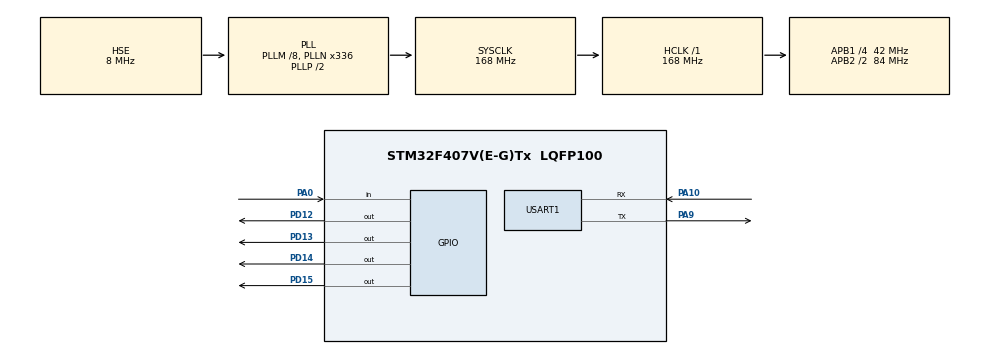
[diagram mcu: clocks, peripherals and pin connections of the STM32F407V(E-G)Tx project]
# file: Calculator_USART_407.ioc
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Mcu.Family=STM32F4
Mcu.Name=STM32F407V(E-G)Tx
Mcu.Package=LQFP100
NVIC.PriorityGroup=NVIC_PRIORITYGROUP_0
NVIC.TIM1_UP_TIM10_IRQn=true\:0\:0\:false\:false\:true\:false\:true
NVIC.TimeBase=TIM1_UP_TIM10_IRQn
NVIC.TimeBaseIP=TIM1
NVIC.USART1_IRQn=true\:0\:0\:false\:false\:true\:true\:true
PA0-WKUP.Signal=GPIO_Input
PA10.Mode=Asynchronous
PA10.Signal=USART1_RX
PA9.Mode=Asynchronous
PA9.Signal=USART1_TX
PD12.Signal=GPIO_Output
PD13.Signal=GPIO_Output
PD14.Signal=GPIO_Output
PD15.Signal=GPIO_Output
PH0-OSC_IN.Mode=HSE-External-Clock-Source
PH0-OSC_IN.Signal=RCC_OSC_IN
PH1-OSC_OUT.Mode=HSE-External-Clock-Source
PH1-OSC_OUT.Signal=RCC_OSC_OUT
ProjectManager.HeapSize=0x200
ProjectManager.StackSize=0x400
ProjectManager.TargetToolchain=STM32CubeIDE
RCC.48MHZClocksFreq_Value=48000000
RCC.AHBFreq_Value=168000000
RCC.APB1CLKDivider=RCC_HCLK_DIV4
RCC.APB1Freq_Value=42000000
RCC.APB1TimFreq_Value=84000000
RCC.APB2CLKDivider=RCC_HCLK_DIV2
RCC.APB2Freq_Value=84000000
RCC.APB2TimFreq_Value=168000000
RCC.CortexFreq_Value=168000000
RCC.HCLKFreq_Value=168000000
RCC.HSE_VALUE=8000000
RCC.HSI_VALUE=16000000
RCC.PLLM=8
RCC.PLLN=336
RCC.PLLQ=7
RCC.PLLSourceVirtual=RCC_PLLSOURCE_HSE
RCC.SYSCLKFreq_VALUE=168000000
RCC.SYSCLKSource=RCC_SYSCLKSOURCE_PLLCLK
RCC.VCOOutputFreq_Value=336000000
USART1.VirtualMode=VM_ASYNC
VP_SYS_VS_tim1.Mode=TIM1
board=STM32F407G-DISC1

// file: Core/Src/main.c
/* USER CODE BEGIN Header */
/**
  ******************************************************************************
  * @file           : main.c
  * @brief          : Main program body
  ******************************************************************************
  * @attention
  *
  * <h2><center>&copy; Copyright (c) 2022 STMicroelectronics.
  * All rights reserved.</center></h2>
  *
  * This software component is licensed by ST under Ultimate Liberty license
  * SLA0044, the "License"; You may not use this file except in compliance with
  * the License. You may obtain a copy of the License at:
  *                             www.st.com/SLA0044
  *
  ******************************************************************************
  */
/* USER CODE END Header */
#include "main.h"
#include "calculator.h"

UART_HandleTypeDef huart1;

void SystemClock_Config(void);
static void MX_GPIO_Init(void);
static void MX_USART1_UART_Init(void);

/* USER CODE BEGIN 0 */
uint8_t Tx1_Data[18]= "Enter two No.\r\n";
uint8_t Rx_Data;
uint8_t *Tx_Data[6]={"Enter 2 No.\n\r", "1. Addition\n\r","2. Subtraction\n\r","3. Multiplication\n\r","4. Division\n\r"};
uint8_t invalid[25]= "Input Incorrect!!\n\r";
uint8_t div_zero[30]= "Exception: divide by 0\n\r";
uint8_t buffer[4]={0},i=0;
uint16_t result=0;

/* USER CODE END 0 */

int main(void)
{

  /* MCU Configuration--------------------------------------------------------*/

  /* Reset of all peripherals, Initializes the Flash interface and the Systick. */
  HAL_Init();

  /* Configure the system clock */
  SystemClock_Config();

  /* Initialize all configured peripherals */
  MX_GPIO_Init();
  MX_USART1_UART_Init();
  /* USER CODE BEGIN 2 */
  for(uint8_t i=0;i<6;i++)
  {
	  HAL_UART_Transmit(&huart1,Tx1_Data,sizeof(Tx1_Data), 1000);
	  HAL_GPIO_TogglePin(GPIOD, GPIO_PIN_12);
  }

  /* USER CODE END 2 */
  HAL_UART_Receive_IT(&huart1, &Rx_Data, 1);
  /* Infinite loop */
  while (1)
  {
	  if(i==1)
	  {
		  HAL_UART_Transmit(&huart1, Tx1_Data, sizeof(Tx1_Data), 1000);
		  HAL_GPIO_TogglePin(GPIOD, GPIO_PIN_12);
	  }

	  if(i==3)
	  {
		  i=0;
		  result=calculator(buffer[0],buffer[1],buffer[2]);
		  *buffer=0;
		  if(result==9999)
		  {
			  HAL_UART_Transmit_IT(&huart1, invalid, sizeof(invalid));
		  }

		  else if (result==99999)
		  {
		  	HAL_UART_Transmit_IT(&huart1, div_zero, sizeof(div_zero));
		  }

		  else
		  {
			  HAL_UART_Transmit_IT(&huart1, &result, sizeof(result));
		  }

	  }
  }
}

void SystemClock_Config(void)
{
  RCC_OscInitTypeDef RCC_OscInitStruct = {0};
  RCC_ClkInitTypeDef RCC_ClkInitStruct = {0};

  /** Configure the main internal regulator output voltage
  */
  __HAL_RCC_PWR_CLK_ENABLE();
  __HAL_PWR_VOLTAGESCALING_CONFIG(PWR_REGULATOR_VOLTAGE_SCALE1);
  /** Initializes the RCC Oscillators according to the specified parameters
  * in the RCC_OscInitTypeDef structure.
  */
  RCC_OscInitStruct.OscillatorType = RCC_OSCILLATORTYPE_HSE;
  RCC_OscInitStruct.HSEState = RCC_HSE_BYPASS;
  RCC_OscInitStruct.PLL.PLLState = RCC_PLL_ON;
  RCC_OscInitStruct.PLL.PLLSource = RCC_PLLSOURCE_HSE;
  RCC_OscInitStruct.PLL.PLLM = 8;
  RCC_OscInitStruct.PLL.PLLN = 336;
  RCC_OscInitStruct.PLL.PLLP = RCC_PLLP_DIV2;
  RCC_OscInitStruct.PLL.PLLQ = 7;
  if (HAL_RCC_OscConfig(&RCC_OscInitStruct) != HAL_OK)
  {
    Error_Handler();
  }
  /** Initializes the CPU, AHB and APB buses clocks
  */
  RCC_ClkInitStruct.ClockType = RCC_CLOCKTYPE_HCLK|RCC_CLOCKTYPE_SYSCLK
                              |RCC_CLOCKTYPE_PCLK1|RCC_CLOCKTYPE_PCLK2;
  RCC_ClkInitStruct.SYSCLKSource = RCC_SYSCLKSOURCE_PLLCLK;
  RCC_ClkInitStruct.AHBCLKDivider = RCC_SYSCLK_DIV1;
  RCC_ClkInitStruct.APB1CLKDivider = RCC_HCLK_DIV4;
  RCC_ClkInitStruct.APB2CLKDivider = RCC_HCLK_DIV2;

  if (HAL_RCC_ClockConfig(&RCC_ClkInitStruct, FLASH_LATENCY_5) != HAL_OK)
  {
    Error_Handler();
  }
}

static void MX_USART1_UART_Init(void)
{

  huart1.Instance = USART1;
  huart1.Init.BaudRate = 115200;
  huart1.Init.WordLength = UART_WORDLENGTH_8B;
  huart1.Init.StopBits = UART_STOPBITS_1;
  huart1.Init.Parity = UART_PARITY_NONE;
  huart1.Init.Mode = UART_MODE_TX_RX;
  huart1.Init.HwFlowCtl = UART_HWCONTROL_NONE;
  huart1.Init.OverSampling = UART_OVERSAMPLING_16;
  if (HAL_UART_Init(&huart1) != HAL_OK)
  {
    Error_Handler();
  }

}

static void MX_GPIO_Init(void)
{
  GPIO_InitTypeDef GPIO_InitStruct = {0};

  /* GPIO Ports Clock Enable */
  __HAL_RCC_GPIOH_CLK_ENABLE();
  __HAL_RCC_GPIOA_CLK_ENABLE();
  __HAL_RCC_GPIOD_CLK_ENABLE();

  /*Configure GPIO pin Output Level */
  HAL_GPIO_WritePin(GPIOD, GPIO_PIN_12|GPIO_PIN_13|GPIO_PIN_14|GPIO_PIN_15, GPIO_PIN_RESET);

  /*Configure GPIO pin : PA0 */
  GPIO_InitStruct.Pin = GPIO_PIN_0;
  GPIO_InitStruct.Mode = GPIO_MODE_INPUT;
  GPIO_InitStruct.Pull = GPIO_NOPULL;
  HAL_GPIO_Init(GPIOA, &GPIO_InitStruct);

  /*Configure GPIO pins : PD12 PD13 PD14 PD15 */
  GPIO_InitStruct.Pin = GPIO_PIN_12|GPIO_PIN_13|GPIO_PIN_14|GPIO_PIN_15;
  GPIO_InitStruct.Mode = GPIO_MODE_OUTPUT_PP;
  GPIO_InitStruct.Pull = GPIO_NOPULL;
  GPIO_InitStruct.Speed = GPIO_SPEED_FREQ_LOW;
  HAL_GPIO_Init(GPIOD, &GPIO_InitStruct);

}

/* USER CODE BEGIN 4 */
HAL_UART_RxCpltCallback(UART_HandleTypeDef *huart)
{
	if (Rx_Data != ' ')
	{
		buffer[i]= Rx_Data - '0';
	}
	HAL_GPIO_TogglePin(GPIOD, GPIO_PIN_13);

}

HAL_UART_TxCpltCallback(UART_HandleTypeDef *huart)
{
	 HAL_GPIO_TogglePin(GPIOD, GPIO_PIN_15);
}
/* USER CODE END 4 */

void HAL_TIM_PeriodElapsedCallback(TIM_HandleTypeDef *htim)
{
  if (htim->Instance == TIM1) {
    HAL_IncTick();
  }
}

void Error_Handler(void)
{
  __disable_irq();
  while (1)
  {
  }
}

/************************ (C) COPYRIGHT STMicroelectronics *****END OF FILE****/
